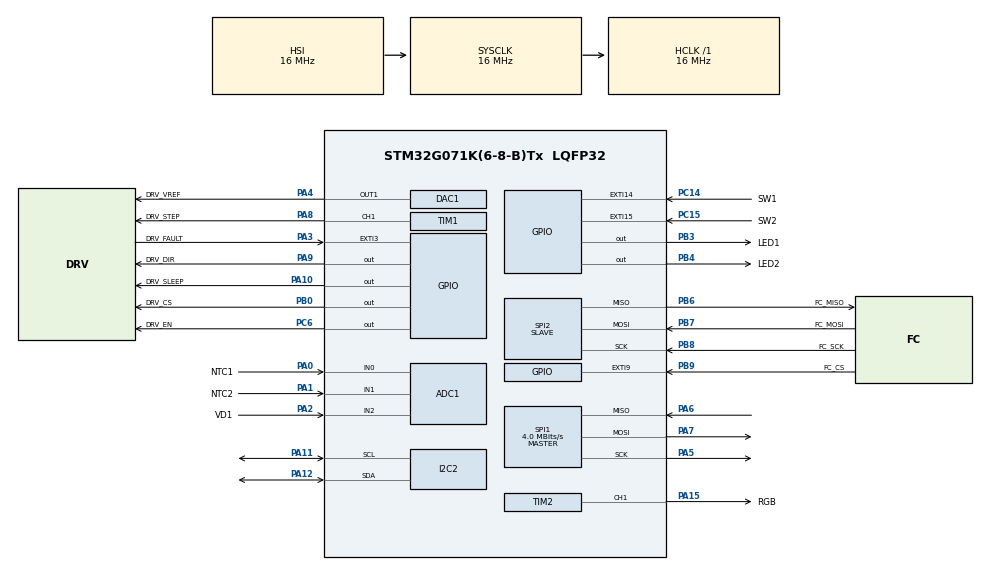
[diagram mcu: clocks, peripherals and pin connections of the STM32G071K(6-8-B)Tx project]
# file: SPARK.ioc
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ADC1.Channel-0\#ChannelRegularConversion=ADC_CHANNEL_0
ADC1.NbrOfConversionFlag=1
ADC1.Rank-0\#ChannelRegularConversion=1
ADC1.SamplingTime-0\#ChannelRegularConversion=ADC_SAMPLINGTIME_COMMON_1
ADC1.SelectedChannel=ADC_CHANNEL_0|ADC_CHANNEL_1|ADC_CHANNEL_2|ADC_CHANNEL_TEMPSENSOR|ADC_CHANNEL_VREFINT|ADC_CHANNEL_VBAT
ADC1.master=1
DAC1.DAC_Channel-DAC_OUT1=DAC_CHANNEL_1
Dma.Request0=TIM2_CH1
Dma.Request1=TIM1_CH1
Dma.TIM1_CH1.1.Direction=DMA_MEMORY_TO_PERIPH
Dma.TIM1_CH1.1.EventEnable=DISABLE
Dma.TIM1_CH1.1.Instance=DMA1_Channel1
Dma.TIM1_CH1.1.MemDataAlignment=DMA_MDATAALIGN_WORD
Dma.TIM1_CH1.1.MemInc=DMA_MINC_ENABLE
Dma.TIM1_CH1.1.Mode=DMA_NORMAL
Dma.TIM1_CH1.1.PeriphDataAlignment=DMA_PDATAALIGN_WORD
Dma.TIM1_CH1.1.PeriphInc=DMA_PINC_DISABLE
Dma.TIM1_CH1.1.Polarity=HAL_DMAMUX_REQ_GEN_RISING
Dma.TIM1_CH1.1.Priority=DMA_PRIORITY_LOW
Dma.TIM1_CH1.1.RequestNumber=1
Dma.TIM1_CH1.1.SignalID=NONE
Dma.TIM1_CH1.1.SyncEnable=DISABLE
Dma.TIM1_CH1.1.SyncPolarity=HAL_DMAMUX_SYNC_NO_EVENT
Dma.TIM1_CH1.1.SyncRequestNumber=1
Dma.TIM1_CH1.1.SyncSignalID=NONE
Dma.TIM2_CH1.0.Direction=DMA_MEMORY_TO_PERIPH
Dma.TIM2_CH1.0.EventEnable=DISABLE
Dma.TIM2_CH1.0.Instance=DMA1_Channel2
Dma.TIM2_CH1.0.MemDataAlignment=DMA_MDATAALIGN_BYTE
Dma.TIM2_CH1.0.MemInc=DMA_MINC_ENABLE
Dma.TIM2_CH1.0.Mode=DMA_NORMAL
Dma.TIM2_CH1.0.PeriphDataAlignment=DMA_PDATAALIGN_WORD
Dma.TIM2_CH1.0.PeriphInc=DMA_PINC_DISABLE
Dma.TIM2_CH1.0.Polarity=HAL_DMAMUX_REQ_GEN_RISING
Dma.TIM2_CH1.0.Priority=DMA_PRIORITY_LOW
Dma.TIM2_CH1.0.RequestNumber=1
Dma.TIM2_CH1.0.SignalID=NONE
Dma.TIM2_CH1.0.SyncEnable=DISABLE
Dma.TIM2_CH1.0.SyncPolarity=HAL_DMAMUX_SYNC_NO_EVENT
Dma.TIM2_CH1.0.SyncRequestNumber=1
Dma.TIM2_CH1.0.SyncSignalID=NONE
I2C2.Timing=0x00503D58
Mcu.Family=STM32G0
Mcu.Name=STM32G071K(6-8-B)Tx
Mcu.Package=LQFP32
NVIC.DMA1_Channel1_IRQn=true\:0\:0\:false\:false\:true\:false\:true\:true
NVIC.DMA1_Channel2_3_IRQn=true\:0\:0\:false\:false\:true\:false\:true\:true
NVIC.EXTI2_3_IRQn=true\:0\:0\:false\:false\:true\:true\:true\:true
NVIC.EXTI4_15_IRQn=true\:1\:0\:true\:false\:true\:true\:true\:true
NVIC.SPI2_IRQn=true\:0\:0\:false\:false\:true\:true\:true\:true
NVIC.TIM1_BRK_UP_TRG_COM_IRQn=true\:0\:0\:false\:false\:true\:true\:true\:true
NVIC.TIM7_LPTIM2_IRQn=true\:0\:0\:false\:false\:true\:true\:true\:true
PA0.GPIO_Label=NTC1
PA0.Mode=IN0
PA0.Signal=ADC1_IN0
PA1.GPIO_Label=NTC2
PA1.Mode=IN1
PA1.Signal=ADC1_IN1
PA10.GPIO_Label=DRV_SLEEP
PA10.Signal=GPIO_Output
PA11\ [PA9].GPIO_Pu=GPIO_PULLUP
PA11\ [PA9].GPIO_Speed=GPIO_SPEED_FREQ_VERY_HIGH
PA11\ [PA9].Mode=I2C
PA11\ [PA9].Signal=I2C2_SCL
PA12\ [PA10].GPIO_Pu=GPIO_PULLUP
PA12\ [PA10].GPIO_Speed=GPIO_SPEED_FREQ_VERY_HIGH
PA12\ [PA10].Mode=I2C
PA12\ [PA10].Signal=I2C2_SDA
PA13.Mode=Serial_Wire
PA13.Signal=SYS_SWDIO
PA14-BOOT0.Mode=Serial_Wire
PA14-BOOT0.Signal=SYS_SWCLK
PA15.GPIO_Label=RGB
PA15.GPIO_Speed=GPIO_SPEED_FREQ_VERY_HIGH
PA15.Signal=S_TIM2_CH1_ETR
PA2.GPIO_Label=VD1
PA2.Mode=IN2
PA2.Signal=ADC1_IN2
PA3.GPIO_Label=DRV_FAULT
PA3.GPIO_ModeDefaultEXTI=GPIO_MODE_IT_FALLING
PA3.Signal=GPXTI3
PA4.GPIO_Label=DRV_VREF
PA4.Signal=COMP_DAC11_group
PA5.GPIO_Speed=GPIO_SPEED_FREQ_VERY_HIGH
PA5.Mode=Full_Duplex_Master
PA5.Signal=SPI1_SCK
PA6.GPIO_Speed=GPIO_SPEED_FREQ_VERY_HIGH
PA6.Mode=Full_Duplex_Master
PA6.Signal=SPI1_MISO
PA7.GPIO_Speed=GPIO_SPEED_FREQ_VERY_HIGH
PA7.Mode=Full_Duplex_Master
PA7.Signal=SPI1_MOSI
PA8.GPIO_Label=DRV_STEP
PA8.GPIO_Speed=GPIO_SPEED_FREQ_VERY_HIGH
PA8.Signal=S_TIM1_CH1
PA9.GPIO_Label=DRV_DIR
PA9.GPIO_ModeDefaultOutputPP=GPIO_MODE_OUTPUT_PP
PA9.GPIO_PuPd=GPIO_NOPULL
PA9.Signal=GPIO_Output
PB0.GPIO_Label=DRV_CS
PB0.GPIO_ModeDefaultOutputPP=GPIO_MODE_OUTPUT_OD
PB0.GPIO_PuPd=GPIO_NOPULL
PB0.PinState=GPIO_PIN_SET
PB0.Signal=GPIO_Output
PB3.GPIO_Label=LED1
PB3.PinState=GPIO_PIN_SET
PB3.Signal=GPIO_Output
PB4.GPIO_Label=LED2
PB4.Signal=GPIO_Output
PB6.GPIO_Label=FC_MISO
PB6.GPIO_Speed=GPIO_SPEED_FREQ_VERY_HIGH
PB6.Mode=Full_Duplex_Slave
PB6.Signal=SPI2_MISO
PB7.GPIO_Label=FC_MOSI
PB7.GPIO_Speed=GPIO_SPEED_FREQ_VERY_HIGH
PB7.Mode=Full_Duplex_Slave
PB7.Signal=SPI2_MOSI
PB8.GPIO_Label=FC_SCK
PB8.GPIO_Speed=GPIO_SPEED_FREQ_VERY_HIGH
PB8.Mode=Full_Duplex_Slave
PB8.Signal=SPI2_SCK
PB9.GPIO_Label=FC_CS
PB9.Signal=GPXTI9
PC14-OSC32_IN\ (PC14).GPIO_Label=SW1
PC14-OSC32_IN\ (PC14).Signal=GPXTI14
PC15-OSC32_OUT\ (PC15).GPIO_Label=SW2
PC15-OSC32_OUT\ (PC15).Signal=GPXTI15
PC6.GPIO_Label=DRV_EN
PC6.GPIO_ModeDefaultOutputPP=GPIO_MODE_OUTPUT_PP
PC6.GPIO_PuPd=GPIO_NOPULL
PC6.Signal=GPIO_Output
ProjectManager.HeapSize=0x200
ProjectManager.StackSize=0x400
ProjectManager.TargetToolchain=CMake
RCC.AHBFreq_Value=16000000
RCC.CortexFreq_Value=16000000
RCC.EXTERNAL_CLOCK_VALUE=48000
RCC.HCLKFreq_Value=16000000
RCC.HSE_VALUE=8000000
RCC.HSI_VALUE=16000000
RCC.LSE_VALUE=32768
RCC.PLLQ=RCC_PLLQ_DIV4
RCC.SYSCLKFreq_VALUE=16000000
RCC.VCOOutputFreq_Value=128000000
SH.COMP_DAC11_group.0=DAC1_OUT1,DAC_OUT1
SH.S_TIM1_CH1.0=TIM1_CH1,PWM Generation1 CH1
SH.S_TIM2_CH1_ETR.0=TIM2_CH1,PWM Generation1 CH1
SPI1.BaudRatePrescaler=SPI_BAUDRATEPRESCALER_4
SPI1.CLKPhase=SPI_PHASE_2EDGE
SPI1.CalculateBaudRate=4.0 MBits/s
SPI1.DataSize=SPI_DATASIZE_8BIT
SPI1.Direction=SPI_DIRECTION_2LINES
SPI1.Mode=SPI_MODE_MASTER
SPI1.VirtualType=VM_MASTER
SPI2.CRCCalculation=SPI_CRCCALCULATION_DISABLE
SPI2.DataSize=SPI_DATASIZE_8BIT
SPI2.Direction=SPI_DIRECTION_2LINES
SPI2.Mode=SPI_MODE_SLAVE
SPI2.VirtualType=VM_SLAVE
TIM1.Channel-PWM\ Generation1\ CH1=TIM_CHANNEL_1
TIM1.Period=15
TIM1.Pulse-PWM\ Generation1\ CH1=8
TIM2.Channel-PWM\ Generation1\ CH1=TIM_CHANNEL_1
TIM2.Period=17
TIM3.Prescaler=15
TIM7.Period=999
TIM7.Prescaler=15
VP_ADC1_TempSens_Input.Mode=IN-TempSens
VP_ADC1_Vbat_Input.Mode=IN-Vbat
VP_ADC1_Vref_Input.Mode=IN-Vrefint
VP_TIM1_VS_ClockSourceINT.Mode=Internal
VP_TIM3_VS_ClockSourceINT.Mode=Internal
VP_TIM7_VS_ClockSourceINT.Mode=Enable_Timer
board=custom

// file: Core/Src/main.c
/* USER CODE BEGIN Header */
/**
  ******************************************************************************
  * @file           : main.c
  * @brief          : Main program body
  ******************************************************************************
  * @attention
  *
  * Copyright (c) 2025 STMicroelectronics.
  * All rights reserved.
  *
  * This software is licensed under terms that can be found in the LICENSE file
  * in the root directory of this software component.
  * If no LICENSE file comes with this software, it is provided AS-IS.
  *
  ******************************************************************************
  */
/* USER CODE END Header */
#include "main.h"

ADC_HandleTypeDef hadc1;

DAC_HandleTypeDef hdac1;

I2C_HandleTypeDef hi2c2;

SPI_HandleTypeDef hspi1;
SPI_HandleTypeDef hspi2;

TIM_HandleTypeDef htim1;
TIM_HandleTypeDef htim2;
TIM_HandleTypeDef htim3;
TIM_HandleTypeDef htim7;
DMA_HandleTypeDef hdma_tim1_ch1;
DMA_HandleTypeDef hdma_tim2_ch1;

/* USER CODE BEGIN PV */
volatile uint32_t tim7_ms = 0;
uint32_t tim7_target_ms;

uint16_t tick_ks = 0;
uint32_t tick_ms = 0;
uint32_t tick_us = 0;
uint32_t tick_raw = 0;
uint32_t tick_us_start = 0;
uint16_t overflow_count = 0;

uint32_t dt_100Hz;
uint32_t dt_10Hz;

uint32_t loop_counter_100Hz = 0;
uint32_t loop_counter_10Hz = 0;

volatile uint8_t dma_waiting_ws2812;

AS5600_status_t AS5600_status;

float voltage_driver;
float temperature_driver;
float temperature_converter;

float mag_angle = 0;
float mag_speed = 0;
float rotation_count = 0;
float mag_angle_continuous = 0;
float angle_cmd_prev = 0;
float angle_cmd_diff = 0;

/* USER CODE END PV */

void SystemClock_Config(void);
static void MX_GPIO_Init(void);
static void MX_DMA_Init(void);
static void MX_SPI1_Init(void);
static void MX_TIM1_Init(void);
static void MX_I2C2_Init(void);
static void MX_SPI2_Init(void);
static void MX_ADC1_Init(void);
static void MX_DAC1_Init(void);
static void MX_TIM2_Init(void);
static void MX_TIM3_Init(void);
static void MX_TIM7_Init(void);

int main(void)
{

  /* MCU Configuration--------------------------------------------------------*/

  /* Reset of all peripherals, Initializes the Flash interface and the Systick. */
  HAL_Init();

  /* Configure the system clock */
  SystemClock_Config();

  /* Initialize all configured peripherals */
  MX_GPIO_Init();
  MX_DMA_Init();
  MX_SPI1_Init();
  MX_TIM1_Init();
  MX_I2C2_Init();
  MX_SPI2_Init();
  MX_ADC1_Init();
  MX_DAC1_Init();
  MX_TIM2_Init();
  MX_TIM3_Init();
  MX_TIM7_Init();
  /* USER CODE BEGIN 2 */

  RunOnce();
  /* USER CODE END 2 */

  /* Infinite loop */
  /* USER CODE BEGIN WHILE */
  while (1)
  {
    HAL_GetTickUS();

    if(tick_us > 10000 * loop_counter_100Hz - TICK_US_RESET_THRESHOLD * tick_ks) {
      TimeMeasureStart();
      loop_counter_100Hz++;
      Loop_100Hz();
      dt_100Hz = TimeMeasureStop();
    }

    if(tick_us > 100000 * loop_counter_10Hz - TICK_US_RESET_THRESHOLD * tick_ks) {
      TimeMeasureStart();
      loop_counter_10Hz++;
      Loop_10Hz();
      dt_10Hz = TimeMeasureStop();
    }
  }
  /* USER CODE END 3 */
}

void RunOnce()
{
  Stepper_Sleep();
  HAL_Delay(100);
  StateMachine_Init(&spark_sm, STATE_STARTUP);

  AS5600_readAngle(&mag_angle_continuous);

  Communication_ActivateReceive();

  angle_cmd_prev = stepper.pos_cmd;
}

void Loop_100Hz()
{
  AS5600_readAngle(&mag_angle);
  AngleConstrainedToContinuous(mag_angle, &mag_angle_continuous, &rotation_count);

  mag_speed = (mag_angle_continuous - stepper.pos_prev) * 100.f;
  angle_cmd_diff = ((stepper.pos_cmd - angle_cmd_prev) * 100.f) * 0.1f + angle_cmd_diff * 0.9f;
  angle_cmd_prev = stepper.pos_cmd;

  StateMachine_DoActions(&spark_sm, 100);
  Stepper_getFullStatus();
  if (DRV_status.FAULT) {
    Stepper_clearFaults();
  }
  Stepper_updateSpeed(100, mag_angle_continuous);

  ShowStatus(RGB_LED, spark_sm.currentState, 1, 100);
}

void Loop_10Hz()
{
  temperature_driver = readTemperature(ADC_CHANNEL_0);
  temperature_converter = readTemperature(ADC_CHANNEL_1);
  voltage_driver = readVoltage(ADC_CHANNEL_2) * 12.2f / 2.2f;

  StateMachine_DoActions(&spark_sm, 10);

  AS5600_getStatus(&AS5600_status);
}

void HAL_GPIO_EXTI_Rising_Callback(uint16_t GPIO_Pin) {
  // handle DRV8434S fault release
  if(GPIO_Pin == DRV_FAULT_Pin) {
    HAL_GPIO_WritePin(LED2_GPIO_Port, LED2_Pin, GPIO_PIN_SET);
  }
}

void HAL_GPIO_EXTI_Falling_Callback(uint16_t GPIO_Pin) {
  // handle DRV8434S fault detection
  if(GPIO_Pin == DRV_FAULT_Pin) {
    HAL_GPIO_WritePin(LED2_GPIO_Port, LED2_Pin, GPIO_PIN_RESET);

    Stepper_getFullStatus();

    if (DRV_status.STL) {
      stepper.stall_count++;
      StateMachine_Dispatch(&spark_sm, EVENT_STEPPER_STALLED);
    }
    if (DRV_status.UVLO) StateMachine_Dispatch(&spark_sm, EVENT_UVLO);
    if (DRV_status.TF) StateMachine_Dispatch(&spark_sm, EVENT_DRIVER_OVERHEAT);
  } else if(GPIO_Pin == FC_CS_Pin) {
    // handle falling edge of SPI1 chip select - start of new command packet
    //Communication_ActivateReceive();
  }
}

void HAL_SPI_TxRxCpltCallback(SPI_HandleTypeDef *hspi) {
  if(hspi->Instance == SPI2) {
    // Process received data
    ProcessCommandPacket();
    UpdateSPARKDataPacket(&spark_data_packet, mag_angle_continuous - stepper.neutral_angle, angle_cmd_diff, mag_angle_continuous - stepper.pos_cmd, voltage_driver, temperature_driver, temperature_converter, (uint8_t)spark_sm.currentState);
    spi2_tx_buffer[31] = getCRC(&spark_data_packet);
    Communication_ActivateReceive();
  }
}

void HAL_SPI_ErrorCallback(SPI_HandleTypeDef *hspi) {
  if(hspi->Instance == SPI2) {
    // Handle SPI error
    Communication_ActivateReceive();
  }
}

void SystemClock_Config(void)
{
  RCC_OscInitTypeDef RCC_OscInitStruct = {0};
  RCC_ClkInitTypeDef RCC_ClkInitStruct = {0};

  /** Configure the main internal regulator output voltage
  */
  HAL_PWREx_ControlVoltageScaling(PWR_REGULATOR_VOLTAGE_SCALE1);

  /** Initializes the RCC Oscillators according to the specified parameters
  * in the RCC_OscInitTypeDef structure.
  */
  RCC_OscInitStruct.OscillatorType = RCC_OSCILLATORTYPE_HSI;
  RCC_OscInitStruct.HSIState = RCC_HSI_ON;
  RCC_OscInitStruct.HSIDiv = RCC_HSI_DIV1;
  RCC_OscInitStruct.HSICalibrationValue = RCC_HSICALIBRATION_DEFAULT;
  RCC_OscInitStruct.PLL.PLLState = RCC_PLL_NONE;
  if (HAL_RCC_OscConfig(&RCC_OscInitStruct) != HAL_OK)
  {
    Error_Handler();
  }

  /** Initializes the CPU, AHB and APB buses clocks
  */
  RCC_ClkInitStruct.ClockType = RCC_CLOCKTYPE_HCLK|RCC_CLOCKTYPE_SYSCLK
                              |RCC_CLOCKTYPE_PCLK1;
  RCC_ClkInitStruct.SYSCLKSource = RCC_SYSCLKSOURCE_HSI;
  RCC_ClkInitStruct.AHBCLKDivider = RCC_SYSCLK_DIV1;
  RCC_ClkInitStruct.APB1CLKDivider = RCC_HCLK_DIV1;

  if (HAL_RCC_ClockConfig(&RCC_ClkInitStruct, FLASH_LATENCY_0) != HAL_OK)
  {
    Error_Handler();
  }
}

static void MX_ADC1_Init(void)
{

  ADC_ChannelConfTypeDef sConfig = {0};

  /** Configure the global features of the ADC (Clock, Resolution, Data Alignment and number of conversion)
  */
  hadc1.Instance = ADC1;
  hadc1.Init.ClockPrescaler = ADC_CLOCK_SYNC_PCLK_DIV2;
  hadc1.Init.Resolution = ADC_RESOLUTION_12B;
  hadc1.Init.DataAlign = ADC_DATAALIGN_RIGHT;
  hadc1.Init.ScanConvMode = ADC_SCAN_DISABLE;
  hadc1.Init.EOCSelection = ADC_EOC_SINGLE_CONV;
  hadc1.Init.LowPowerAutoWait = DISABLE;
  hadc1.Init.LowPowerAutoPowerOff = DISABLE;
  hadc1.Init.ContinuousConvMode = DISABLE;
  hadc1.Init.NbrOfConversion = 1;
  hadc1.Init.DiscontinuousConvMode = DISABLE;
  hadc1.Init.ExternalTrigConv = ADC_SOFTWARE_START;
  hadc1.Init.ExternalTrigConvEdge = ADC_EXTERNALTRIGCONVEDGE_NONE;
  hadc1.Init.DMAContinuousRequests = DISABLE;
  hadc1.Init.Overrun = ADC_OVR_DATA_PRESERVED;
  hadc1.Init.SamplingTimeCommon1 = ADC_SAMPLETIME_1CYCLE_5;
  hadc1.Init.SamplingTimeCommon2 = ADC_SAMPLETIME_1CYCLE_5;
  hadc1.Init.OversamplingMode = DISABLE;
  hadc1.Init.TriggerFrequencyMode = ADC_TRIGGER_FREQ_HIGH;
  if (HAL_ADC_Init(&hadc1) != HAL_OK)
  {
    Error_Handler();
  }

  /** Configure Regular Channel
  */
  sConfig.Channel = ADC_CHANNEL_0;
  sConfig.Rank = ADC_REGULAR_RANK_1;
  sConfig.SamplingTime = ADC_SAMPLINGTIME_COMMON_1;
  if (HAL_ADC_ConfigChannel(&hadc1, &sConfig) != HAL_OK)
  {
    Error_Handler();
  }

}

static void MX_DAC1_Init(void)
{

  DAC_ChannelConfTypeDef sConfig = {0};

  /** DAC Initialization
  */
  hdac1.Instance = DAC1;
  if (HAL_DAC_Init(&hdac1) != HAL_OK)
  {
    Error_Handler();
  }

  /** DAC channel OUT1 config
  */
  sConfig.DAC_SampleAndHold = DAC_SAMPLEANDHOLD_DISABLE;
  sConfig.DAC_Trigger = DAC_TRIGGER_NONE;
  sConfig.DAC_OutputBuffer = DAC_OUTPUTBUFFER_ENABLE;
  sConfig.DAC_ConnectOnChipPeripheral = DAC_CHIPCONNECT_DISABLE;
  sConfig.DAC_UserTrimming = DAC_TRIMMING_FACTORY;
  if (HAL_DAC_ConfigChannel(&hdac1, &sConfig, DAC_CHANNEL_1) != HAL_OK)
  {
    Error_Handler();
  }

}

static void MX_I2C2_Init(void)
{

  hi2c2.Instance = I2C2;
  hi2c2.Init.Timing = 0x00503D58;
  hi2c2.Init.OwnAddress1 = 0;
  hi2c2.Init.AddressingMode = I2C_ADDRESSINGMODE_7BIT;
  hi2c2.Init.DualAddressMode = I2C_DUALADDRESS_DISABLE;
  hi2c2.Init.OwnAddress2 = 0;
  hi2c2.Init.OwnAddress2Masks = I2C_OA2_NOMASK;
  hi2c2.Init.GeneralCallMode = I2C_GENERALCALL_DISABLE;
  hi2c2.Init.NoStretchMode = I2C_NOSTRETCH_DISABLE;
  if (HAL_I2C_Init(&hi2c2) != HAL_OK)
  {
    Error_Handler();
  }

  /** Configure Analogue filter
  */
  if (HAL_I2CEx_ConfigAnalogFilter(&hi2c2, I2C_ANALOGFILTER_ENABLE) != HAL_OK)
  {
    Error_Handler();
  }

  /** Configure Digital filter
  */
  if (HAL_I2CEx_ConfigDigitalFilter(&hi2c2, 0) != HAL_OK)
  {
    Error_Handler();
  }

}

static void MX_SPI1_Init(void)
{

  /* SPI1 parameter configuration*/
  hspi1.Instance = SPI1;
  hspi1.Init.Mode = SPI_MODE_MASTER;
  hspi1.Init.Direction = SPI_DIRECTION_2LINES;
  hspi1.Init.DataSize = SPI_DATASIZE_8BIT;
  hspi1.Init.CLKPolarity = SPI_POLARITY_LOW;
  hspi1.Init.CLKPhase = SPI_PHASE_2EDGE;
  hspi1.Init.NSS = SPI_NSS_SOFT;
  hspi1.Init.BaudRatePrescaler = SPI_BAUDRATEPRESCALER_4;
  hspi1.Init.FirstBit = SPI_FIRSTBIT_MSB;
  hspi1.Init.TIMode = SPI_TIMODE_DISABLE;
  hspi1.Init.CRCCalculation = SPI_CRCCALCULATION_DISABLE;
  hspi1.Init.CRCPolynomial = 7;
  hspi1.Init.CRCLength = SPI_CRC_LENGTH_DATASIZE;
  hspi1.Init.NSSPMode = SPI_NSS_PULSE_DISABLE;
  if (HAL_SPI_Init(&hspi1) != HAL_OK)
  {
    Error_Handler();
  }

}

static void MX_SPI2_Init(void)
{

  /* SPI2 parameter configuration*/
  hspi2.Instance = SPI2;
  hspi2.Init.Mode = SPI_MODE_SLAVE;
  hspi2.Init.Direction = SPI_DIRECTION_2LINES;
  hspi2.Init.DataSize = SPI_DATASIZE_8BIT;
  hspi2.Init.CLKPolarity = SPI_POLARITY_LOW;
  hspi2.Init.CLKPhase = SPI_PHASE_1EDGE;
  hspi2.Init.NSS = SPI_NSS_HARD_INPUT;
  hspi2.Init.FirstBit = SPI_FIRSTBIT_MSB;
  hspi2.Init.TIMode = SPI_TIMODE_DISABLE;
  hspi2.Init.CRCCalculation = SPI_CRCCALCULATION_DISABLE;
  hspi2.Init.CRCPolynomial = 10;
  hspi2.Init.CRCLength = SPI_CRC_LENGTH_DATASIZE;
  hspi2.Init.NSSPMode = SPI_NSS_PULSE_DISABLE;
  if (HAL_SPI_Init(&hspi2) != HAL_OK)
  {
    Error_Handler();
  }
  /* USER CODE BEGIN SPI2_Init 2 */
  HAL_NVIC_SetPriority(SPI2_IRQn, 1, 0);
  HAL_NVIC_EnableIRQ(SPI2_IRQn);
  /* USER CODE END SPI2_Init 2 */

}

static void MX_TIM1_Init(void)
{

  TIM_ClockConfigTypeDef sClockSourceConfig = {0};
  TIM_MasterConfigTypeDef sMasterConfig = {0};
  TIM_OC_InitTypeDef sConfigOC = {0};
  TIM_BreakDeadTimeConfigTypeDef sBreakDeadTimeConfig = {0};

  htim1.Instance = TIM1;
  htim1.Init.Prescaler = STEPPER_STEP_TIME - 1;
  htim1.Init.CounterMode = TIM_COUNTERMODE_UP;
  htim1.Init.Period = TIM1_ARR - 1;
  htim1.Init.ClockDivision = TIM_CLOCKDIVISION_DIV1;
  htim1.Init.RepetitionCounter = 0;
  htim1.Init.AutoReloadPreload = TIM_AUTORELOAD_PRELOAD_DISABLE;
  if (HAL_TIM_Base_Init(&htim1) != HAL_OK)
  {
    Error_Handler();
  }
  sClockSourceConfig.ClockSource = TIM_CLOCKSOURCE_INTERNAL;
  if (HAL_TIM_ConfigClockSource(&htim1, &sClockSourceConfig) != HAL_OK)
  {
    Error_Handler();
  }
  if (HAL_TIM_PWM_Init(&htim1) != HAL_OK)
  {
    Error_Handler();
  }
  sMasterConfig.MasterOutputTrigger = TIM_TRGO_RESET;
  sMasterConfig.MasterOutputTrigger2 = TIM_TRGO2_RESET;
  sMasterConfig.MasterSlaveMode = TIM_MASTERSLAVEMODE_DISABLE;
  if (HAL_TIMEx_MasterConfigSynchronization(&htim1, &sMasterConfig) != HAL_OK)
  {
    Error_Handler();
  }
  sConfigOC.OCMode = TIM_OCMODE_PWM1;
  sConfigOC.Pulse = TIM1_ARR / 2;
  sConfigOC.OCPolarity = TIM_OCPOLARITY_HIGH;
  sConfigOC.OCNPolarity = TIM_OCNPOLARITY_HIGH;
  sConfigOC.OCFastMode = TIM_OCFAST_DISABLE;
  sConfigOC.OCIdleState = TIM_OCIDLESTATE_RESET;
  sConfigOC.OCNIdleState = TIM_OCNIDLESTATE_RESET;
  if (HAL_TIM_PWM_ConfigChannel(&htim1, &sConfigOC, TIM_CHANNEL_1) != HAL_OK)
  {
    Error_Handler();
  }
  sBreakDeadTimeConfig.OffStateRunMode = TIM_OSSR_DISABLE;
  sBreakDeadTimeConfig.OffStateIDLEMode = TIM_OSSI_DISABLE;
  sBreakDeadTimeConfig.LockLevel = TIM_LOCKLEVEL_OFF;
  sBreakDeadTimeConfig.DeadTime = 0;
  sBreakDeadTimeConfig.BreakState = TIM_BREAK_DISABLE;
  sBreakDeadTimeConfig.BreakPolarity = TIM_BREAKPOLARITY_HIGH;
  sBreakDeadTimeConfig.BreakFilter = 0;
  sBreakDeadTimeConfig.BreakAFMode = TIM_BREAK_AFMODE_INPUT;
  sBreakDeadTimeConfig.Break2State = TIM_BREAK2_DISABLE;
  sBreakDeadTimeConfig.Break2Polarity = TIM_BREAK2POLARITY_HIGH;
  sBreakDeadTimeConfig.Break2Filter = 0;
  sBreakDeadTimeConfig.Break2AFMode = TIM_BREAK_AFMODE_INPUT;
  sBreakDeadTimeConfig.AutomaticOutput = TIM_AUTOMATICOUTPUT_DISABLE;
  if (HAL_TIMEx_ConfigBreakDeadTime(&htim1, &sBreakDeadTimeConfig) != HAL_OK)
  {
    Error_Handler();
  }
  HAL_TIM_MspPostInit(&htim1);

}

static void MX_TIM2_Init(void)
{

  TIM_MasterConfigTypeDef sMasterConfig = {0};
  TIM_OC_InitTypeDef sConfigOC = {0};

  htim2.Instance = TIM2;
  htim2.Init.Prescaler = 0;
  htim2.Init.CounterMode = TIM_COUNTERMODE_UP;
  htim2.Init.Period = 17;
  htim2.Init.ClockDivision = TIM_CLOCKDIVISION_DIV1;
  htim2.Init.AutoReloadPreload = TIM_AUTORELOAD_PRELOAD_DISABLE;
  if (HAL_TIM_PWM_Init(&htim2) != HAL_OK)
  {
    Error_Handler();
  }
  sMasterConfig.MasterOutputTrigger = TIM_TRGO_RESET;
  sMasterConfig.MasterSlaveMode = TIM_MASTERSLAVEMODE_DISABLE;
  if (HAL_TIMEx_MasterConfigSynchronization(&htim2, &sMasterConfig) != HAL_OK)
  {
    Error_Handler();
  }
  sConfigOC.OCMode = TIM_OCMODE_PWM1;
  sConfigOC.Pulse = 0;
  sConfigOC.OCPolarity = TIM_OCPOLARITY_HIGH;
  sConfigOC.OCFastMode = TIM_OCFAST_DISABLE;
  if (HAL_TIM_PWM_ConfigChannel(&htim2, &sConfigOC, TIM_CHANNEL_1) != HAL_OK)
  {
    Error_Handler();
  }
  HAL_TIM_MspPostInit(&htim2);

}

static void MX_TIM3_Init(void)
{

  TIM_ClockConfigTypeDef sClockSourceConfig = {0};
  TIM_MasterConfigTypeDef sMasterConfig = {0};

  htim3.Instance = TIM3;
  htim3.Init.Prescaler = 15;
  htim3.Init.CounterMode = TIM_COUNTERMODE_UP;
  htim3.Init.Period = 65535;
  htim3.Init.ClockDivision = TIM_CLOCKDIVISION_DIV1;
  htim3.Init.AutoReloadPreload = TIM_AUTORELOAD_PRELOAD_DISABLE;
  if (HAL_TIM_Base_Init(&htim3) != HAL_OK)
  {
    Error_Handler();
  }
  sClockSourceConfig.ClockSource = TIM_CLOCKSOURCE_INTERNAL;
  if (HAL_TIM_ConfigClockSource(&htim3, &sClockSourceConfig) != HAL_OK)
  {
    Error_Handler();
  }
  sMasterConfig.MasterOutputTrigger = TIM_TRGO_RESET;
  sMasterConfig.MasterSlaveMode = TIM_MASTERSLAVEMODE_DISABLE;
  if (HAL_TIMEx_MasterConfigSynchronization(&htim3, &sMasterConfig) != HAL_OK)
  {
    Error_Handler();
  }

}

static void MX_TIM7_Init(void)
{

  TIM_MasterConfigTypeDef sMasterConfig = {0};

  htim7.Instance = TIM7;
  htim7.Init.Prescaler = 15;
  htim7.Init.CounterMode = TIM_COUNTERMODE_UP;
  htim7.Init.Period = 999;
  htim7.Init.AutoReloadPreload = TIM_AUTORELOAD_PRELOAD_DISABLE;
  if (HAL_TIM_Base_Init(&htim7) != HAL_OK)
  {
    Error_Handler();
  }
  sMasterConfig.MasterOutputTrigger = TIM_TRGO_RESET;
  sMasterConfig.MasterSlaveMode = TIM_MASTERSLAVEMODE_DISABLE;
  if (HAL_TIMEx_MasterConfigSynchronization(&htim7, &sMasterConfig) != HAL_OK)
  {
    Error_Handler();
  }

}

static void MX_DMA_Init(void)
{

  /* DMA controller clock enable */
  __HAL_RCC_DMA1_CLK_ENABLE();

  /* DMA interrupt init */
  /* DMA1_Channel1_IRQn interrupt configuration */
  HAL_NVIC_SetPriority(DMA1_Channel1_IRQn, 0, 0);
  HAL_NVIC_EnableIRQ(DMA1_Channel1_IRQn);
  /* DMA1_Channel2_3_IRQn interrupt configuration */
  HAL_NVIC_SetPriority(DMA1_Channel2_3_IRQn, 0, 0);
  HAL_NVIC_EnableIRQ(DMA1_Channel2_3_IRQn);

}

static void MX_GPIO_Init(void)
{
  GPIO_InitTypeDef GPIO_InitStruct = {0};

  /* GPIO Ports Clock Enable */
  __HAL_RCC_GPIOB_CLK_ENABLE();
  __HAL_RCC_GPIOC_CLK_ENABLE();
  __HAL_RCC_GPIOA_CLK_ENABLE();

  /*Configure GPIO pin Output Level */
  HAL_GPIO_WritePin(GPIOB, DRV_CS_Pin, GPIO_PIN_SET);

  /*Configure GPIO pin Output Level */
  HAL_GPIO_WritePin(GPIOA, DRV_DIR_Pin|DRV_SLEEP_Pin, GPIO_PIN_RESET);

  /*Configure GPIO pin Output Level */
  HAL_GPIO_WritePin(DRV_EN_GPIO_Port, DRV_EN_Pin, GPIO_PIN_RESET);

  /*Configure GPIO pin Output Level */
  HAL_GPIO_WritePin(LED1_GPIO_Port, LED1_Pin, GPIO_PIN_RESET);
  HAL_GPIO_WritePin(LED2_GPIO_Port, LED2_Pin, GPIO_PIN_RESET);

  /*Configure GPIO pin : FC_CS_Pin */
  //GPIO_InitStruct.Pin = FC_CS_Pin;
  //GPIO_InitStruct.Mode = GPIO_MODE_IT_FALLING;
  //GPIO_InitStruct.Pull = GPIO_NOPULL;
  //HAL_GPIO_Init(FC_CS_GPIO_Port, &GPIO_InitStruct);

  /*Configure GPIO pins : SW1_Pin SW2_Pin */
  GPIO_InitStruct.Pin = SW1_Pin|SW2_Pin;
  GPIO_InitStruct.Mode = GPIO_MODE_IT_RISING;
  GPIO_InitStruct.Pull = GPIO_NOPULL;
  HAL_GPIO_Init(GPIOC, &GPIO_InitStruct);

  /*Configure GPIO pin : DRV_FAULT_Pin */
  GPIO_InitStruct.Pin = DRV_FAULT_Pin;
  GPIO_InitStruct.Mode = GPIO_MODE_IT_FALLING;
  GPIO_InitStruct.Pull = GPIO_NOPULL;
  HAL_GPIO_Init(DRV_FAULT_GPIO_Port, &GPIO_InitStruct);

  /*Configure GPIO pin : DRV_CS_Pin */
  GPIO_InitStruct.Pin = DRV_CS_Pin;
  GPIO_InitStruct.Mode = GPIO_MODE_OUTPUT_OD;
  GPIO_InitStruct.Pull = GPIO_NOPULL;
  GPIO_InitStruct.Speed = GPIO_SPEED_FREQ_LOW;
  HAL_GPIO_Init(DRV_CS_GPIO_Port, &GPIO_InitStruct);

  /*Configure GPIO pins : DRV_DIR_Pin DRV_SLEEP_Pin */
  GPIO_InitStruct.Pin = DRV_DIR_Pin|DRV_SLEEP_Pin;
  GPIO_InitStruct.Mode = GPIO_MODE_OUTPUT_PP;
  GPIO_InitStruct.Pull = GPIO_NOPULL;
  GPIO_InitStruct.Speed = GPIO_SPEED_FREQ_LOW;
  HAL_GPIO_Init(GPIOA, &GPIO_InitStruct);

  /*Configure GPIO pin : DRV_EN_Pin */
  GPIO_InitStruct.Pin = DRV_EN_Pin;
  GPIO_InitStruct.Mode = GPIO_MODE_OUTPUT_PP;
  GPIO_InitStruct.Pull = GPIO_NOPULL;
  GPIO_InitStruct.Speed = GPIO_SPEED_FREQ_LOW;
  HAL_GPIO_Init(DRV_EN_GPIO_Port, &GPIO_InitStruct);

  /*Configure GPIO pins : LED1_Pin LED2_Pin */
  GPIO_InitStruct.Pin = LED1_Pin|LED2_Pin;
  GPIO_InitStruct.Mode = GPIO_MODE_OUTPUT_PP;
  GPIO_InitStruct.Pull = GPIO_NOPULL;
  GPIO_InitStruct.Speed = GPIO_SPEED_FREQ_LOW;
  HAL_GPIO_Init(GPIOB, &GPIO_InitStruct);

  /* EXTI interrupt init*/
  HAL_NVIC_SetPriority(EXTI2_3_IRQn, 0, 0);
  HAL_NVIC_EnableIRQ(EXTI2_3_IRQn);

  HAL_NVIC_SetPriority(EXTI4_15_IRQn, 1, 0);
  HAL_NVIC_EnableIRQ(EXTI4_15_IRQn);

}

/* USER CODE BEGIN 4 */
void HAL_TIM_PWM_PulseFinishedCallback(TIM_HandleTypeDef *htim)
{
  if (htim->Instance == TIM1 && htim->Channel == HAL_TIM_ACTIVE_CHANNEL_1) {
    HAL_TIM_PWM_Stop_DMA(&htim1, TIM_CHANNEL_1);
    Stepper_Disable();
  }
  if (htim->Instance == TIM2 && htim->Channel == HAL_TIM_ACTIVE_CHANNEL_1) {
    HAL_TIM_PWM_Stop_DMA(&htim2, TIM_CHANNEL_1);
    dma_waiting_ws2812 = 0;
    led_skip_counter = 0;
  }
}

void HAL_TIM_PeriodElapsedCallback(TIM_HandleTypeDef *htim)
{
  if (htim->Instance == TIM1 && htim->Channel == HAL_TIM_ACTIVE_CHANNEL_1) {
    // PWM burst finished
    HAL_TIM_PWM_Stop(htim, TIM_CHANNEL_1);
  }
  else if (htim->Instance == TIM7) {
    tim7_ms++;
    if (tim7_ms >= tim7_target_ms) {
      tim7_ms = 0;
      HAL_TIM_Base_Stop_IT(&htim7);

      StateMachine_Dispatch(&spark_sm, EVENT_TIMER_ELAPSED);
    }
  }
}

uint32_t HAL_GetTickUS(void) {
  uint32_t tick_now = TIM3->CNT;
  if (tick_now < tick_raw)
    overflow_count++;

  tick_raw = tick_now;
  tick_us = tick_raw + overflow_count * 65536;
  if (tick_us > TICK_US_RESET_THRESHOLD) {
    tick_ks++;
    overflow_count = 0;
  }

  return tick_us; // get the current value of TIM3 counter
}

void TimeMeasureStart(void) {
  tick_us_start = HAL_GetTickUS();
}

uint32_t TimeMeasureStop(void) {
  int32_t time_diff = HAL_GetTickUS() - tick_us_start;
  if (time_diff < 0)
    time_diff += TICK_US_RESET_THRESHOLD;
  return time_diff;
}
/* USER CODE END 4 */

void Error_Handler(void)
{
  __disable_irq();
  while (1)
  {
  }
}
